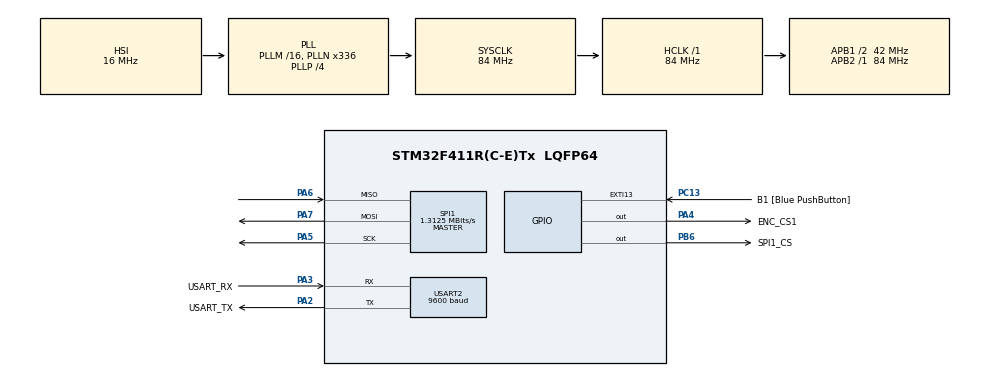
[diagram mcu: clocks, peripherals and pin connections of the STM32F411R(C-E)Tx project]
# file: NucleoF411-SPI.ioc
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Dma.Request0=SPI1_RX
Dma.Request1=SPI1_TX
Dma.SPI1_RX.0.Direction=DMA_PERIPH_TO_MEMORY
Dma.SPI1_RX.0.FIFOMode=DMA_FIFOMODE_DISABLE
Dma.SPI1_RX.0.Instance=DMA2_Stream0
Dma.SPI1_RX.0.MemDataAlignment=DMA_MDATAALIGN_BYTE
Dma.SPI1_RX.0.MemInc=DMA_MINC_ENABLE
Dma.SPI1_RX.0.Mode=DMA_NORMAL
Dma.SPI1_RX.0.PeriphDataAlignment=DMA_PDATAALIGN_BYTE
Dma.SPI1_RX.0.PeriphInc=DMA_PINC_DISABLE
Dma.SPI1_RX.0.Priority=DMA_PRIORITY_LOW
Dma.SPI1_TX.1.Direction=DMA_MEMORY_TO_PERIPH
Dma.SPI1_TX.1.FIFOMode=DMA_FIFOMODE_DISABLE
Dma.SPI1_TX.1.Instance=DMA2_Stream2
Dma.SPI1_TX.1.MemDataAlignment=DMA_MDATAALIGN_BYTE
Dma.SPI1_TX.1.MemInc=DMA_MINC_ENABLE
Dma.SPI1_TX.1.Mode=DMA_NORMAL
Dma.SPI1_TX.1.PeriphDataAlignment=DMA_PDATAALIGN_BYTE
Dma.SPI1_TX.1.PeriphInc=DMA_PINC_DISABLE
Dma.SPI1_TX.1.Priority=DMA_PRIORITY_LOW
Mcu.Family=STM32F4
Mcu.Name=STM32F411R(C-E)Tx
Mcu.Package=LQFP64
NVIC.DMA2_Stream0_IRQn=true\:0\:0\:false\:false\:true\:false\:true
NVIC.DMA2_Stream2_IRQn=true\:0\:0\:false\:false\:true\:false\:true
NVIC.PriorityGroup=NVIC_PRIORITYGROUP_0
NVIC.SPI1_IRQn=true\:0\:0\:false\:false\:true\:true\:true
PA13.GPIO_Label=TMS
PA13.Signal=SYS_JTMS-SWDIO
PA14.GPIO_Label=TCK
PA14.Signal=SYS_JTCK-SWCLK
PA2.GPIO_Label=USART_TX
PA2.Mode=Asynchronous
PA2.Signal=USART2_TX
PA3.GPIO_Label=USART_RX
PA3.Mode=Asynchronous
PA3.Signal=USART2_RX
PA4.GPIO_Label=ENC_CS1
PA4.GPIO_Speed=GPIO_SPEED_FREQ_VERY_HIGH
PA4.Signal=GPIO_Output
PA5.GPIO_PuPd=GPIO_PULLUP
PA5.Mode=Full_Duplex_Master
PA5.Signal=SPI1_SCK
PA6.GPIO_PuPd=GPIO_PULLUP
PA6.Mode=Full_Duplex_Master
PA6.Signal=SPI1_MISO
PA7.GPIO_PuPd=GPIO_PULLUP
PA7.Mode=Full_Duplex_Master
PA7.Signal=SPI1_MOSI
PB3.GPIO_Label=SWO
PB3.Signal=SYS_JTDO-SWO
PB6.GPIO_Label=SPI1_CS
PB6.GPIO_PuPd=GPIO_PULLUP
PB6.GPIO_Speed=GPIO_SPEED_FREQ_VERY_HIGH
PB6.PinState=GPIO_PIN_SET
PB6.Signal=GPIO_Output
PC13-ANTI_TAMP.GPIO_Label=B1 [Blue PushButton]
PC13-ANTI_TAMP.GPIO_ModeDefaultEXTI=GPIO_MODE_IT_FALLING
PC13-ANTI_TAMP.Signal=GPXTI13
PC14-OSC32_IN.Signal=RCC_OSC32_IN
PC15-OSC32_OUT.Signal=RCC_OSC32_OUT
PH0\ -\ OSC_IN.Signal=RCC_OSC_IN
PH1\ -\ OSC_OUT.Signal=RCC_OSC_OUT
ProjectManager.HeapSize=0x200
ProjectManager.StackSize=0x400
ProjectManager.TargetToolchain=SW4STM32
RCC.48MHZClocksFreq_Value=84000000
RCC.AHBFreq_Value=84000000
RCC.APB1CLKDivider=RCC_HCLK_DIV2
RCC.APB1Freq_Value=42000000
RCC.APB1TimFreq_Value=84000000
RCC.APB2Freq_Value=84000000
RCC.APB2TimFreq_Value=84000000
RCC.CortexFreq_Value=84000000
RCC.FLatency-AdvancedSettings=FLASH_LATENCY_2
RCC.HCLKFreq_Value=84000000
RCC.HSE_VALUE=8000000
RCC.HSI_VALUE=16000000
RCC.LSE_VALUE=32768
RCC.PLLN=336
RCC.PLLP=RCC_PLLP_DIV4
RCC.PLLSourceVirtual=RCC_PLLSOURCE_HSI
RCC.SYSCLKFreq_VALUE=84000000
RCC.SYSCLKSource=RCC_SYSCLKSOURCE_PLLCLK
RCC.VCOOutputFreq_Value=336000000
SPI1.BaudRatePrescaler=SPI_BAUDRATEPRESCALER_64
SPI1.CalculateBaudRate=1.3125 MBits/s
SPI1.Direction=SPI_DIRECTION_2LINES
SPI1.Mode=SPI_MODE_MASTER
SPI1.VirtualType=VM_MASTER
USART2.BaudRate=9600
USART2.HwFlowCtl-Asynchronous=UART_HWCONTROL_NONE
USART2.VirtualMode=VM_ASYNC
board=NUCLEO-F411RE

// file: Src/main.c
/* USER CODE BEGIN Header */
/**
  ******************************************************************************
  * @file           : main.c
  * @brief          : Main program body
  ******************************************************************************
  * @attention
  *
  * <h2><center>&copy; Copyright (c) 2021 STMicroelectronics.
  * All rights reserved.</center></h2>
  *
  * This software component is licensed by ST under BSD 3-Clause license,
  * the "License"; You may not use this file except in compliance with the
  * License. You may obtain a copy of the License at:
  *                        opensource.org/licenses/BSD-3-Clause
  *
  ******************************************************************************
  */
/* USER CODE END Header */
#include "main.h"

/* USER CODE BEGIN Includes */
#include <stdio.h>
/* USER CODE END Includes */

SPI_HandleTypeDef hspi1;
DMA_HandleTypeDef hdma_spi1_rx;
DMA_HandleTypeDef hdma_spi1_tx;

UART_HandleTypeDef huart2;

/* USER CODE BEGIN PV */
/* Private variables ---------------------------------------------------------*/

/* USER CODE END PV */

void SystemClock_Config(void);
static void MX_GPIO_Init(void);
static void MX_DMA_Init(void);
static void MX_SPI1_Init(void);
static void MX_USART2_UART_Init(void);
/* USER CODE BEGIN PFP */
/* Private function prototypes -----------------------------------------------*/

/* USER CODE END PFP */

/* USER CODE BEGIN 0 */
int _write( int file, char *ptr, int len )
{
  HAL_UART_Transmit(&huart2,(uint8_t*) ptr, len, 1000);
  return len;
}

void HAL_SPI_TxRxHalfCpltCallback(SPI_HandleTypeDef *hspi)
{
    if (hspi->Instance == SPI1)
    {
    }
}

uint8_t sData[2];
uint8_t rData[2];
uint16_t res;

void HAL_SPI_TxRxCpltCallback(SPI_HandleTypeDef *hspi)
{
    if (hspi->Instance == SPI1)
    {
    	res = ((uint16_t)rData[0]<<8);
    	res = res + (uint16_t)rData[1];
    	res = 0x3FFF&res;
    	//CS High
    	HAL_GPIO_WritePin(ENC_CS1_GPIO_Port, ENC_CS1_Pin,1);
    	printf("ENC VAL: %d \n", res);
    }
}

/* USER CODE END 0 */

int main(void)
{

  /* MCU Configuration--------------------------------------------------------*/

  /* Reset of all peripherals, Initializes the Flash interface and the Systick. */
  HAL_Init();

  /* Configure the system clock */
  SystemClock_Config();

  /* Initialize all configured peripherals */
  MX_GPIO_Init();
  MX_DMA_Init();
  MX_SPI1_Init();
  MX_USART2_UART_Init();

  /* Infinite loop */
  while (1)
  {

    /* USER CODE BEGIN 3 */
	//CS low
	HAL_GPIO_WritePin(ENC_CS1_GPIO_Port, ENC_CS1_Pin,0);
	sData[0]=0xFF;
	sData[1]=0xFF;
	HAL_SPI_TransmitReceive_DMA(&hspi1,sData,rData,(uint16_t)2);
	HAL_Delay(500);

  }
  /* USER CODE END 3 */
}

void SystemClock_Config(void)
{
  RCC_OscInitTypeDef RCC_OscInitStruct = {0};
  RCC_ClkInitTypeDef RCC_ClkInitStruct = {0};

  /** Configure the main internal regulator output voltage
  */
  __HAL_RCC_PWR_CLK_ENABLE();
  __HAL_PWR_VOLTAGESCALING_CONFIG(PWR_REGULATOR_VOLTAGE_SCALE1);
  /** Initializes the RCC Oscillators according to the specified parameters
  * in the RCC_OscInitTypeDef structure.
  */
  RCC_OscInitStruct.OscillatorType = RCC_OSCILLATORTYPE_HSI;
  RCC_OscInitStruct.HSIState = RCC_HSI_ON;
  RCC_OscInitStruct.HSICalibrationValue = RCC_HSICALIBRATION_DEFAULT;
  RCC_OscInitStruct.PLL.PLLState = RCC_PLL_ON;
  RCC_OscInitStruct.PLL.PLLSource = RCC_PLLSOURCE_HSI;
  RCC_OscInitStruct.PLL.PLLM = 16;
  RCC_OscInitStruct.PLL.PLLN = 336;
  RCC_OscInitStruct.PLL.PLLP = RCC_PLLP_DIV4;
  RCC_OscInitStruct.PLL.PLLQ = 4;
  if (HAL_RCC_OscConfig(&RCC_OscInitStruct) != HAL_OK)
  {
    Error_Handler();
  }
  /** Initializes the CPU, AHB and APB buses clocks
  */
  RCC_ClkInitStruct.ClockType = RCC_CLOCKTYPE_HCLK|RCC_CLOCKTYPE_SYSCLK
                              |RCC_CLOCKTYPE_PCLK1|RCC_CLOCKTYPE_PCLK2;
  RCC_ClkInitStruct.SYSCLKSource = RCC_SYSCLKSOURCE_PLLCLK;
  RCC_ClkInitStruct.AHBCLKDivider = RCC_SYSCLK_DIV1;
  RCC_ClkInitStruct.APB1CLKDivider = RCC_HCLK_DIV2;
  RCC_ClkInitStruct.APB2CLKDivider = RCC_HCLK_DIV1;

  if (HAL_RCC_ClockConfig(&RCC_ClkInitStruct, FLASH_LATENCY_2) != HAL_OK)
  {
    Error_Handler();
  }
}

static void MX_SPI1_Init(void)
{

  /* SPI1 parameter configuration*/
  hspi1.Instance = SPI1;
  hspi1.Init.Mode = SPI_MODE_MASTER;
  hspi1.Init.Direction = SPI_DIRECTION_2LINES;
  hspi1.Init.DataSize = SPI_DATASIZE_8BIT;
  hspi1.Init.CLKPolarity = SPI_POLARITY_LOW;
  hspi1.Init.CLKPhase = SPI_PHASE_1EDGE;
  hspi1.Init.NSS = SPI_NSS_SOFT;
  hspi1.Init.BaudRatePrescaler = SPI_BAUDRATEPRESCALER_64;
  hspi1.Init.FirstBit = SPI_FIRSTBIT_MSB;
  hspi1.Init.TIMode = SPI_TIMODE_DISABLE;
  hspi1.Init.CRCCalculation = SPI_CRCCALCULATION_DISABLE;
  hspi1.Init.CRCPolynomial = 10;
  if (HAL_SPI_Init(&hspi1) != HAL_OK)
  {
    Error_Handler();
  }

}

static void MX_USART2_UART_Init(void)
{

  huart2.Instance = USART2;
  huart2.Init.BaudRate = 9600;
  huart2.Init.WordLength = UART_WORDLENGTH_8B;
  huart2.Init.StopBits = UART_STOPBITS_1;
  huart2.Init.Parity = UART_PARITY_NONE;
  huart2.Init.Mode = UART_MODE_TX_RX;
  huart2.Init.HwFlowCtl = UART_HWCONTROL_NONE;
  huart2.Init.OverSampling = UART_OVERSAMPLING_16;
  if (HAL_UART_Init(&huart2) != HAL_OK)
  {
    Error_Handler();
  }

}

static void MX_DMA_Init(void)
{

  /* DMA controller clock enable */
  __HAL_RCC_DMA2_CLK_ENABLE();

  /* DMA interrupt init */
  /* DMA2_Stream0_IRQn interrupt configuration */
  HAL_NVIC_SetPriority(DMA2_Stream0_IRQn, 0, 0);
  HAL_NVIC_EnableIRQ(DMA2_Stream0_IRQn);
  /* DMA2_Stream2_IRQn interrupt configuration */
  HAL_NVIC_SetPriority(DMA2_Stream2_IRQn, 0, 0);
  HAL_NVIC_EnableIRQ(DMA2_Stream2_IRQn);

}

static void MX_GPIO_Init(void)
{
  GPIO_InitTypeDef GPIO_InitStruct = {0};

  /* GPIO Ports Clock Enable */
  __HAL_RCC_GPIOC_CLK_ENABLE();
  __HAL_RCC_GPIOH_CLK_ENABLE();
  __HAL_RCC_GPIOA_CLK_ENABLE();
  __HAL_RCC_GPIOB_CLK_ENABLE();

  /*Configure GPIO pin Output Level */
  HAL_GPIO_WritePin(ENC_CS1_GPIO_Port, ENC_CS1_Pin, GPIO_PIN_RESET);

  /*Configure GPIO pin Output Level */
  HAL_GPIO_WritePin(SPI1_CS_GPIO_Port, SPI1_CS_Pin, GPIO_PIN_SET);

  /*Configure GPIO pin : B1_Pin */
  GPIO_InitStruct.Pin = B1_Pin;
  GPIO_InitStruct.Mode = GPIO_MODE_IT_FALLING;
  GPIO_InitStruct.Pull = GPIO_NOPULL;
  HAL_GPIO_Init(B1_GPIO_Port, &GPIO_InitStruct);

  /*Configure GPIO pin : ENC_CS1_Pin */
  GPIO_InitStruct.Pin = ENC_CS1_Pin;
  GPIO_InitStruct.Mode = GPIO_MODE_OUTPUT_PP;
  GPIO_InitStruct.Pull = GPIO_NOPULL;
  GPIO_InitStruct.Speed = GPIO_SPEED_FREQ_VERY_HIGH;
  HAL_GPIO_Init(ENC_CS1_GPIO_Port, &GPIO_InitStruct);

  /*Configure GPIO pin : SPI1_CS_Pin */
  GPIO_InitStruct.Pin = SPI1_CS_Pin;
  GPIO_InitStruct.Mode = GPIO_MODE_OUTPUT_PP;
  GPIO_InitStruct.Pull = GPIO_PULLUP;
  GPIO_InitStruct.Speed = GPIO_SPEED_FREQ_VERY_HIGH;
  HAL_GPIO_Init(SPI1_CS_GPIO_Port, &GPIO_InitStruct);

}

void Error_Handler(void)
{
  while(1)
  {
  }
}

/************************ (C) COPYRIGHT STMicroelectronics *****END OF FILE****/
